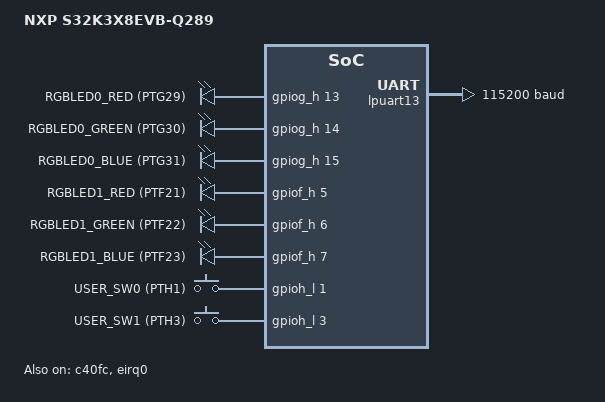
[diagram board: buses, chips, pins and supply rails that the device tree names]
/*
 * Copyright 2026 NXP
 *
 * SPDX-License-Identifier: Apache-2.0
 */

/dts-v1/;
#include <arm/nxp/s32/nxp_s32k358_m7.dtsi>
#include "s32k3x8evb-pinctrl.dtsi"
#include <zephyr/dt-bindings/gpio/gpio.h>
#include <zephyr/dt-bindings/input/input-event-codes.h>

/ {
	model = "NXP S32K3X8EVB-Q289";
	compatible = "nxp,s32k3x8evb";

	chosen {
		zephyr,sram = &sram0_2;
		zephyr,flash = &flash0;
		zephyr,code-partition = &code_partition;
		zephyr,itcm = &itcm;
		zephyr,dtcm = &dtcm;
		zephyr,console = &lpuart13;
		zephyr,shell-uart = &lpuart13;
		zephyr,flash-controller = &c40fc;
	};

	aliases {
		led0 = &rgbled0_red;
		led1 = &rgbled0_green;
		led2 = &rgbled0_blue;
		sw0 = &user_sw0;
		sw1 = &user_sw1;
		watchdog0 = &swt0;
	};

	leds {
		compatible = "gpio-leds";

		/* User RGB LEDs D32/D33, driven through NPN transistors */
		rgbled0_red: led_0 {
			gpios = <&gpiog_h 13 GPIO_ACTIVE_HIGH>;
			label = "RGBLED0_RED (PTG29)";
		};

		rgbled0_green: led_1 {
			gpios = <&gpiog_h 14 GPIO_ACTIVE_HIGH>;
			label = "RGBLED0_GREEN (PTG30)";
		};

		rgbled0_blue: led_2 {
			gpios = <&gpiog_h 15 GPIO_ACTIVE_HIGH>;
			label = "RGBLED0_BLUE (PTG31)";
		};

		rgbled1_red: led_3 {
			gpios = <&gpiof_h 5 GPIO_ACTIVE_HIGH>;
			label = "RGBLED1_RED (PTF21)";
		};

		rgbled1_green: led_4 {
			gpios = <&gpiof_h 6 GPIO_ACTIVE_HIGH>;
			label = "RGBLED1_GREEN (PTF22)";
		};

		rgbled1_blue: led_5 {
			gpios = <&gpiof_h 7 GPIO_ACTIVE_HIGH>;
			label = "RGBLED1_BLUE (PTF23)";
		};
	};

	gpio-keys {
		compatible = "gpio-keys";

		/* User push buttons SW4/SW5, active high, pulled low */
		user_sw0: button_0 {
			gpios = <&gpioh_l 1 GPIO_ACTIVE_HIGH>;
			label = "USER_SW0 (PTH1)";
			zephyr,code = <INPUT_KEY_0>;
		};

		user_sw1: button_1 {
			gpios = <&gpioh_l 3 GPIO_ACTIVE_HIGH>;
			label = "USER_SW1 (PTH3)";
			zephyr,code = <INPUT_KEY_1>;
		};
	};
};

&pmc {
	/* Run mode drawing from PLL requires the last-mile regulator */
	lm-reg;
	/* V15 comes from the on-board NPN pass transistor driven by VRC_CTRL
	 * (J691 default position 1-2 routes V15_NPN to V15_MCU).
	 */
	lm-reg-base-control;
};

&c40fc {
	status = "okay";
};

&flash0 {
	status = "okay";

	partitions {
		compatible = "fixed-partitions";
		#address-cells = <1>;
		#size-cells = <1>;

		ivt_header: partition@0 {
			label = "ivt-header";
			reg = <0x00000000 0x100>;
		};

		code_partition: partition@100 {
			label = "code-partition";
			reg = <0x00000100 (DT_SIZE_K(8144) - 0x100)>;
		};
	};
};

&eirq0 {
	pinctrl-0 = <&eirq0_default>;
	pinctrl-names = "default";
	status = "okay";
};

&gpiof_h {
	status = "okay";
};

&gpiog_h {
	status = "okay";
};

&gpioh_l {
	status = "okay";
};

&lpuart13 {
	pinctrl-0 = <&lpuart13_default>;
	pinctrl-names = "default";
	current-speed = <115200>;
	status = "okay";
};
